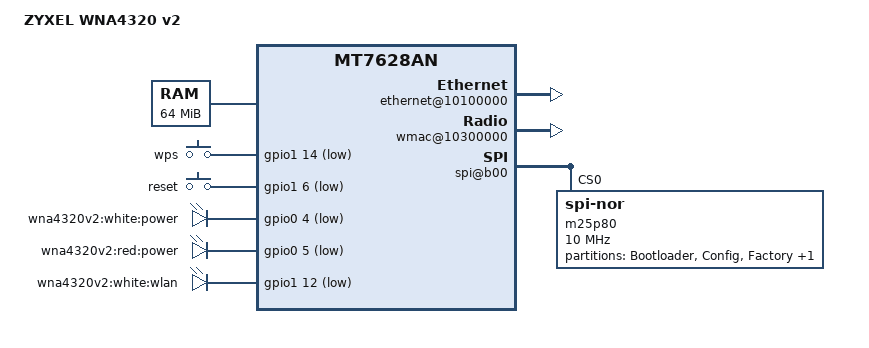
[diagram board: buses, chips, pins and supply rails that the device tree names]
/dts-v1/;

/include/ "mt7628an.dtsi"

/ {
	compatible = "zyxel,wna4320v2", "mediatek,mt7628an-soc";
	model = "ZYXEL WNA4320 v2";

	chosen {
		bootargs = "console=ttyS0,115200";
	};

	memory@0 {
		device_type = "memory";
		reg = <0x0 0x4000000>;
	};

	pinctrl {
		state_default: pinctrl0 {
			gpio {
				ralink,group = "gpio";
				ralink,function = "gpio";
			};
		};
	};

	gpio-keys-polled {
		compatible = "gpio-keys-polled";
		#address-cells = <1>;
		#size-cells = <0>;
		poll-interval = <20>;

		wps {
			label = "wps";
			gpios = <&gpio1 14 1>;
			linux,code = <0x211>;
		};

		reset {
			label = "reset";
			gpios = <&gpio1 6 1>;
			linux,code = <0x198>;
		};
	};

	gpio-leds {
		compatible = "gpio-leds";

		led_power_white: white {
			label = "wna4320v2:white:power";
			gpios = <&gpio0 4 1>;
		};

		led_power_red: red {
			label = "wna4320v2:red:power";
			gpios = <&gpio0 5 1>;
		};

		wlan {
			label = "wna4320v2:white:wlan";
			gpios = <&gpio1 12 1>;
		};
	};

	ethernet@10100000 {
		status = "okay";
		mtd-mac-address = <&factory 0x4>;
		mediatek,portmap = "wllll";
	};

	esw@10110000 {
		status = "okay";
		mediatek,portmap = <0x3e>;
	};

	wmac@10300000 {
		status = "okay";
		ralink,mtd-eeprom = <&factory 0>;
	};

	palmbus@10000000 {
		spi@b00 {
			status = "okay";

			m25p80@0 {
				#address-cells = <1>;
				#size-cells = <1>;
				compatible = "jedec,spi-nor";
				reg = <0 0>;
				linux,modalias = "m25p80";
				spi-max-frequency = <10000000>;
				m25p,chunked-io = <32>;

				partition@0 {
					label = "Bootloader";
					reg = <0x0 0x30000>;
					read-only;
				};

				partition@30000 {
					label = "Config";
					reg = <0x30000 0x10000>;
					read-only;
				};

				factory: partition@40000 {
					label = "Factory";
					reg = <0x40000 0x10000>;
					read-only;
				};

				partition@50000 {
					label = "firmware";
					reg = <0x50000 0x7b0000>;
				};
			};
		};
	};
};
